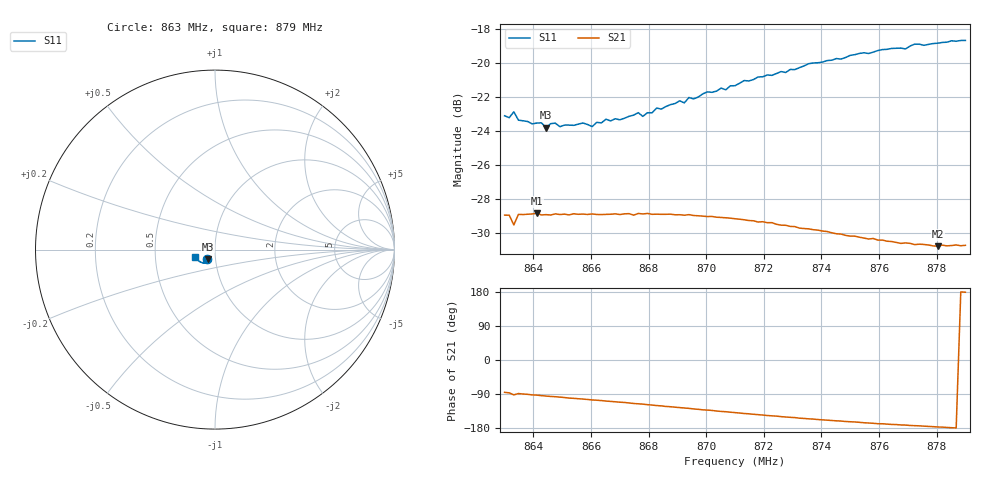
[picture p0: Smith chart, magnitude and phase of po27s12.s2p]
# HZ S RI R 50
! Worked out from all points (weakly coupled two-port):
!   101 points, 863 MHz to 879 MHz, reference 50 ohm
!   highest |S21| = -28.81 dB at 864.12 MHz (marker M1); lowest = -30.7 dB at 878.04 MHz (marker M2)
!   lowest |S11| = -23.8 dB at 864.44 MHz (marker M3), VSWR 1.14, Z = 46 - j4.78 ohm
!   |S11| at or under -10 dB: start of sweep to end of sweep
!   S12 and S22 are empty: the file has one direction only
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8.63e8  -0.0455 -0.0534  0.00294 -0.0357  0 0  0 0
8.6316e8  -0.0446 -0.0529  0.00209 -0.0357  0 0  0 0
8.6332e8  -0.0483 -0.0535  -0.00116 -0.0335  0 0  0 0
8.6348e8  -0.0427 -0.053  0.00093 -0.036  0 0  0 0
8.6412e8  -0.0403 -0.0532  -0.0017 -0.0362  0 0  0 0
8.6444e8  -0.0389 -0.0517  -0.00325 -0.0358  0 0  0 0
8.646e8  -0.0391 -0.0538  -0.00386 -0.0356  0 0  0 0
8.6492e8  -0.0374 -0.0533  -0.00496 -0.0356  0 0  0 0
8.6572e8  -0.0349 -0.057  -0.00817 -0.0351  0 0  0 0
8.6604e8  -0.0344 -0.0554  -0.00958 -0.0348  0 0  0 0
8.6652e8  -0.0345 -0.0592  -0.0113 -0.0341  0 0  0 0
8.67e8  -0.0344 -0.0589  -0.0131 -0.0335  0 0  0 0
8.6764e8  -0.0354 -0.0623  -0.0156 -0.0327  0 0  0 0
8.678e8  -0.0347 -0.0606  -0.0161 -0.0323  0 0  0 0
8.6828e8  -0.0354 -0.0649  -0.0181 -0.0311  0 0  0 0
8.6844e8  -0.0365 -0.0636  -0.0186 -0.0308  0 0  0 0
8.694e8  -0.04 -0.0686  -0.0219 -0.0284  0 0  0 0
8.71e8  -0.0472 -0.0719  -0.0263 -0.023  0 0  0 0
8.7372e8  -0.0665 -0.075  -0.0296 -0.0132  0 0  0 0
8.7644e8  -0.0913 -0.0625  -0.0295 -0.00516  0 0  0 0
8.7804e8  -0.1033 -0.0497  -0.029 -0.00161  0 0  0 0
8.79e8  -0.1101 -0.039  -0.0292 0.000555  0 0  0 0
